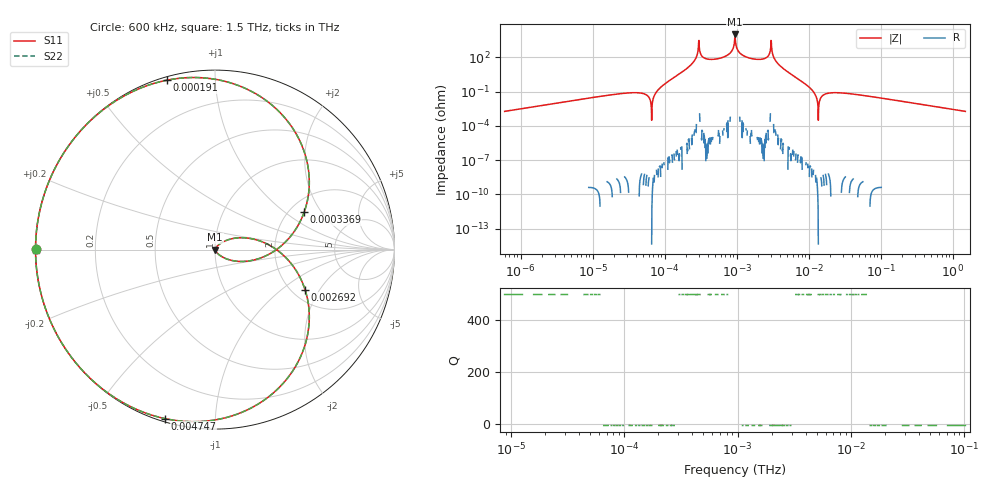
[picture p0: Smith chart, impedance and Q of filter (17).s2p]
! rf-tools.com
! Date: Thu Jan 30 2020 11:43:47 GMT+0000 (格林尼治标准时间)
# Hz S DB R 50.00
!Frequency  S11 dB  S11 Deg  S21 dB  S21 Deg  S12 dB  S12 Deg  S22 dB  S22 Deg
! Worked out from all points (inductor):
!   2000 points, 600 kHz to 1.5 THz, reference 50 ohm
!   read as one part in shunt: L = 492 pH near 645.9 kHz
!   highest |Z| = 9.92 kohm at 945.2 MHz (marker M1)
!   self-resonance near 66.04 MHz
!   S11 on the Smith chart (normalised r, x): 600 kHz: -0.00, +0.00; 191 MHz: 0.01, +0.76; 336.9 MHz: 2.39, +1.41; 2.692 GHz: 2.34, -1.51; 4.747 GHz: 0.01, -0.75; 1.5 THz: -0.00, -0.00
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600000  -0.00 179.8  -82.58 89.8  -82.58 89.8  -0.00 179.8
7033018  -0.00 177.6  -61.30 87.6  -61.30 87.6  -0.00 177.6
4.063287e7  -0.00 165.9  -50.05 75.9  -50.05 75.9  -0.00 165.9
5.496685e7  -0.00 160.8  -53.51 70.8  -53.51 70.8  -0.00 160.8
6.560161e7  -0.00 157.0  -79.27 67.0  -79.27 67.0  -0.00 157.0
8.18336e7  -0.00 151.2  -45.12 -118.8  -45.12 -118.8  -0.00 151.2
1.909841e8  -0.17 105.8  -14.27 -164.2  -14.27 -164.2  -0.17 105.8
3.368536e8  -5.37 22.8  -1.49 112.8  -1.49 112.8  -5.37 22.8
4.327734e8  -13.31 -16.1  -0.21 73.9  -0.21 73.9  -13.31 -16.1
6.443047e8  -33.62 -58.5  -0.00 31.5  -0.00 31.5  -33.62 -58.5
9.45194e8  -155.56 -89.7  -0.00 0.3  -0.00 0.3  -155.56 -89.7
9.521854e8  -155.56 89.7  -0.00 -0.3  -0.00 -0.3  -155.56 89.7
1.396855e9  -33.62 58.5  -0.00 -31.5  -0.00 -31.5  -33.62 58.5
2.094993e9  -13.03 15.2  -0.22 -74.8  -0.22 -74.8  -13.03 15.2
2.691547e9  -5.19 -24.1  -1.57 -114.1  -1.57 -114.1  -5.19 -24.1
4.747291e9  -0.16 -106.5  -14.49 163.5  -14.49 163.5  -0.16 -106.5
1.107928e10  -0.00 -151.4  -45.56 118.6  -45.56 118.6  -0.00 -151.4
1.371917e10  -0.00 -157.0  -79.27 -67.0  -79.27 -67.0  -0.00 -157.0
1.637351e10  -0.00 -160.8  -53.51 -70.8  -53.51 -70.8  -0.00 -160.8
2.214956e10  -0.00 -165.9  -50.05 -75.9  -50.05 -75.9  -0.00 -165.9
1.289144e11  -0.00 -177.6  -61.36 -87.6  -61.36 -87.6  -0.00 -177.6
1.5e12  -0.00 -179.8  -82.58 -89.8  -82.58 -89.8  -0.00 -179.8
